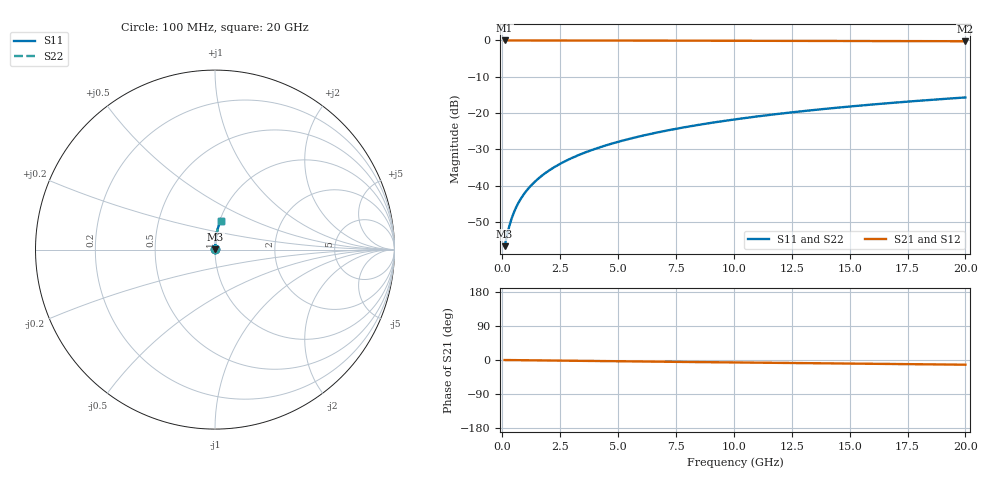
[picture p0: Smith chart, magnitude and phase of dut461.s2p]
! Touchstone file exported from HFSS 2024.1.0
!  File:  C:/UserFiles/LocalFiles/RDL_TSV_Batchsim/temp_RDL_bottom_461_1779685483.aedt
!  Generated:  01:07:41 PM May 25, 2026
!  Design:  RDL_bottom
!  Project:  temp_RDL_bottom_461_1779685483
!  Setup:  Setup1
!  Solution:  Sweep
! Variables:
!  dtsv = 10.80580581um
!  hbump = 3um
!  htsv = 77.16um
!  ldown = 124.3um
!  lrdl = 100um
!  p = 40
!  p1 = 45.64um
!  rhole = 1um
!  t = 450um
!  tdown = 3.19um
!  trdl = 3.915915916um
!  wdown = 13.5um
!  wrdl = 20um
# GHz S MA R 50.000000
! Terminal data exported
! Port[1] = RDL1_T1
! Port[2] = RDL1_T2
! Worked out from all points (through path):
!   200 points, 100 MHz to 20 GHz, reference 50 ohm
!   highest |S21| = -0.01 dB at 100 MHz (marker M1); lowest = -0.2 dB at 20 GHz (marker M2)
!   group delay of S21, straight-line fit = 1.72 ps
!   lowest |S11| = -56.6 dB at 100 MHz (marker M3), VSWR 1.00, Z = 50.1 + j0.0835 ohm
!   |S11| at or under -10 dB: start of sweep to end of sweep
!   |S22| runs from -56.6 to -15.7 dB; largest |S21 - S12| = 2.2e-15
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0.1  0.001479 34.3  0.9988 -0.1  0.9988 -0.1  0.001479 34.3
! Gamma 0 0 0 0
! Port Impedance 50 0 50 0
0.2  0.002066 53.3  0.9988 -0.1  0.9988 -0.1  0.002066 53.3
0.3  0.002774 63.1  0.9987 -0.2  0.9987 -0.2  0.002774 63.1
0.4  0.003526 68.8  0.9987 -0.3  0.9987 -0.3  0.003526 68.7
0.5  0.004295 72.3  0.9987 -0.3  0.9987 -0.3  0.004295 72.3
0.6  0.005071 74.8  0.9986 -0.4  0.9986 -0.4  0.00507 74.8
0.8  0.006631 78.1  0.9986 -0.5  0.9986 -0.5  0.006631 78.1
1.1  0.008983 80.8  0.9985 -0.7  0.9985 -0.7  0.008983 80.8
1.5  0.01214 82.9  0.9983 -1.0  0.9983 -1.0  0.01214 82.9
1.8  0.01451 83.9  0.9982 -1.2  0.9982 -1.2  0.01451 83.9
2.1  0.0169 84.5  0.998 -1.4  0.998 -1.4  0.0169 84.5
2.7  0.02169 85.4  0.9977 -1.8  0.9977 -1.8  0.02169 85.4
3.5  0.02812 86.0  0.9971 -2.3  0.9971 -2.3  0.02812 86.0
4.2  0.03377 86.2  0.9966 -2.8  0.9966 -2.8  0.03377 86.2
5  0.04028 86.2  0.9958 -3.3  0.9958 -3.3  0.04028 86.2
5.9  0.04764 86.2  0.9949 -3.9  0.9949 -3.9  0.04764 86.2
6.8  0.05504 86.0  0.9938 -4.5  0.9938 -4.5  0.05504 86.0
8.3  0.06746 85.5  0.992 -5.4  0.992 -5.4  0.06746 85.5
10.1  0.08244 84.7  0.9895 -6.5  0.9895 -6.5  0.08244 84.7
13.4  0.11 82.9  0.9848 -8.5  0.9848 -8.5  0.11 82.9
16.7  0.1373 81.0  0.9796 -10.5  0.9796 -10.5  0.1373 81.0
20  0.1643 79.0  0.9742 -12.4  0.9742 -12.4  0.1643 79.0
